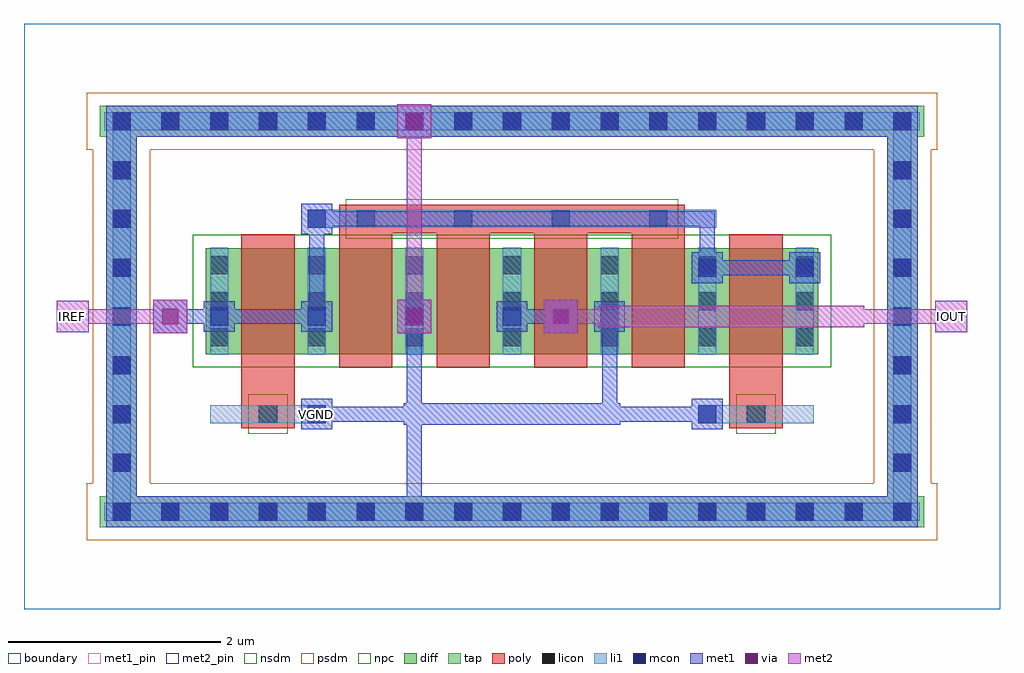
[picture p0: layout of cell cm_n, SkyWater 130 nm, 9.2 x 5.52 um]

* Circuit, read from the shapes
.subckt cm_n IOUT IREF VGND
XM1 IREF VGND IREF VGND sky130_fd_pr__nfet_01v8 w=1 l=0.5 m=2
XM2 VGND IREF IREF VGND sky130_fd_pr__nfet_01v8 w=1 l=0.5 m=2
XM3 IOUT IREF VGND VGND sky130_fd_pr__nfet_01v8 w=1 l=0.5 m=2
.ends

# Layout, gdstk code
import gdstk
lib = gdstk.Library(unit=1e-6, precision=1e-09)
def R(c, l, rs):  # rectangles x0, y0, x1, y1
    for r in rs: c.add(gdstk.rectangle(r[:2], r[2:], *l))
def A(c, l, x, y, w, h, nx, ny, dx, dy):  # array of equal rectangles
    R(c, l, [(x+i*dx, y+j*dy, x+i*dx+w, y+j*dy+h) for i in range(nx) for j in range(ny)])
diff = (65, 20)
tap = (65, 44)
poly = (66, 20)
licon = (66, 44)
li1 = (67, 20)
mcon = (67, 44)
met1_pin = (68, 16)
met1 = (68, 20)
via = (68, 44)
met2_pin = (69, 16)
met2 = (69, 20)
nsdm = (93, 44)
psdm = (94, 20)
npc = (95, 20)
boundary = (235, 4)

cm_n = lib.new_cell('cm_n')
R(cm_n, diff, [(1.715,2.405,7.485,3.405)])
R(cm_n, tap, [(0.715,0.775,8.485,1.065), (0.775,0.775,1.065,4.745), (8.135,0.775,8.425,4.745), (0.715,4.455,8.485,4.745)])
A(cm_n, poly, 2.97, 2.275, 0.5, 1.405, 4, 1, 0.92, 0)
R(cm_n, poly, [(2.05,1.705,2.55,1.975), (6.65,1.705,7.15,1.975), (2.05,1.84,2.55,3.535), (6.65,1.84,7.15,3.535), (2.97,3.545,6.23,3.815)])
A(cm_n, licon, 0.835, 0.835, 0.17, 0.17, 17, 2, 0.46, 3.68)
A(cm_n, licon, 0.835, 1.295, 0.17, 0.17, 1, 7, 0, 0.46)
A(cm_n, licon, 8.195, 1.295, 0.17, 0.17, 1, 7, 0, 0.46)
A(cm_n, licon, 1.755, 2.48, 0.17, 0.17, 7, 3, 0.92, 0.34)
A(cm_n, licon, 3.135, 3.595, 0.17, 0.17, 4, 1, 0.92, 0)
R(cm_n, licon, [(2.215,1.755,2.385,1.925), (6.815,1.755,6.985,1.925)])
A(cm_n, li1, 1.755, 2.4, 0.17, 1.01, 7, 1, 0.92, 0)
R(cm_n, li1, [(0.755,0.835,8.445,1.005), (0.835,0.835,1.005,4.685), (8.195,0.835,8.365,4.685), (1.755,1.755,2.845,1.925), (6.355,1.755,7.445,1.925), (2.675,3.595,6.525,3.765), (0.755,4.515,8.445,4.685)])
A(cm_n, mcon, 0.835, 0.835, 0.17, 0.17, 17, 2, 0.46, 3.68)
A(cm_n, mcon, 0.835, 1.295, 0.17, 0.17, 1, 3, 0, 0.46)
A(cm_n, mcon, 8.195, 1.295, 0.17, 0.17, 1, 4, 0, 0.46)
A(cm_n, mcon, 0.835, 2.675, 0.17, 0.17, 6, 1, 0.92, 0)
A(cm_n, mcon, 0.835, 3.135, 0.17, 0.17, 1, 3, 0, 0.46)
A(cm_n, mcon, 6.355, 3.135, 0.17, 0.17, 3, 1, 0.92, 0)
R(cm_n, mcon, [(2.675,1.755,2.845,1.925), (6.355,1.755,6.525,1.925), (2.675,3.595,2.845,3.765), (8.195,3.595,8.365,3.765), (8.195,4.055,8.365,4.225)])
R(cm_n, met1_pin, [(2.615,1.695,2.905,1.985)])
A(cm_n, met1, 1.695, 2.615, 0.29, 0.29, 5, 1, 0.92, 0)
R(cm_n, met1, [(0.775,0.775,8.425,1.065), (0.775,0.775,1.065,4.745), (8.135,0.775,8.425,4.745), (3.61,0.85,3.75,0.99), (3.61,0.85,3.75,2.83), (2.615,1.695,2.905,1.985), (6.295,1.695,6.585,1.985), (3.58,1.74,5.62,1.94), (2.69,1.77,3.75,1.91), (5.45,1.77,6.51,1.91), (5.45,1.77,5.59,2.83), (1.22,2.6,1.54,2.92), (3.52,2.6,3.84,2.92), (4.9,2.6,5.22,2.92), (1.31,2.69,1.91,2.83), (1.77,2.69,2.83,2.83), (2.69,2.69,2.83,3.75), (4.53,2.69,5.13,2.83), (6.295,3.075,6.585,3.365), (7.215,3.075,7.505,3.365), (6.37,3.15,7.43,3.29), (6.37,3.15,6.51,3.75), (2.615,3.535,2.905,3.825), (2.69,3.61,6.51,3.75), (3.52,4.44,3.84,4.76), (0.775,4.455,8.425,4.745), (3.61,4.53,3.75,4.67)])
R(cm_n, via, [(1.305,2.685,1.455,2.835), (3.605,2.685,3.755,2.835), (4.985,2.685,5.135,2.835), (3.605,4.525,3.755,4.675)])
R(cm_n, met2_pin, [(0.31,2.61,0.61,2.91), (8.59,2.61,8.89,2.91)])
R(cm_n, met2, [(1.22,2.6,1.54,2.92), (3.52,2.6,3.84,2.92), (4.9,2.6,5.22,2.92), (0.31,2.61,0.61,2.91), (8.59,2.61,8.89,2.91), (5.42,2.66,7.92,2.86), (0.39,2.69,0.53,2.83), (0.39,2.69,1.45,2.83), (3.61,2.69,3.75,4.67), (4.99,2.69,5.59,2.83), (7.75,2.69,8.81,2.83), (8.67,2.69,8.81,2.83), (3.52,4.44,3.84,4.76)])
R(cm_n, nsdm, [(1.59,2.28,7.61,3.53)])
R(cm_n, psdm, [(0.59,0.65,8.61,1.19), (0.65,1.19,1.19,4.33), (8.01,1.19,8.55,4.33), (0.59,4.33,8.61,4.87)])
R(cm_n, npc, [(2.115,1.655,2.485,2.025), (6.715,1.655,7.085,2.025), (3.035,3.495,6.165,3.865)])
R(cm_n, boundary, [(0,0,9.2,5.52)])
cm_n.add(gdstk.Label('VGND', (2.76,1.84), layer=68, texttype=5))
cm_n.add(gdstk.Label('IREF', (0.46,2.76), layer=69, texttype=5))
cm_n.add(gdstk.Label('IOUT', (8.74,2.76), layer=69, texttype=5))
cm_n.add(gdstk.Label('VGND', (2.76,1.84), layer=68, texttype=16))
cm_n.add(gdstk.Label('IREF', (0.46,2.76), layer=69, texttype=16))
cm_n.add(gdstk.Label('IOUT', (8.74,2.76), layer=69, texttype=16))

lib.write_gds('cm_n.gds')
